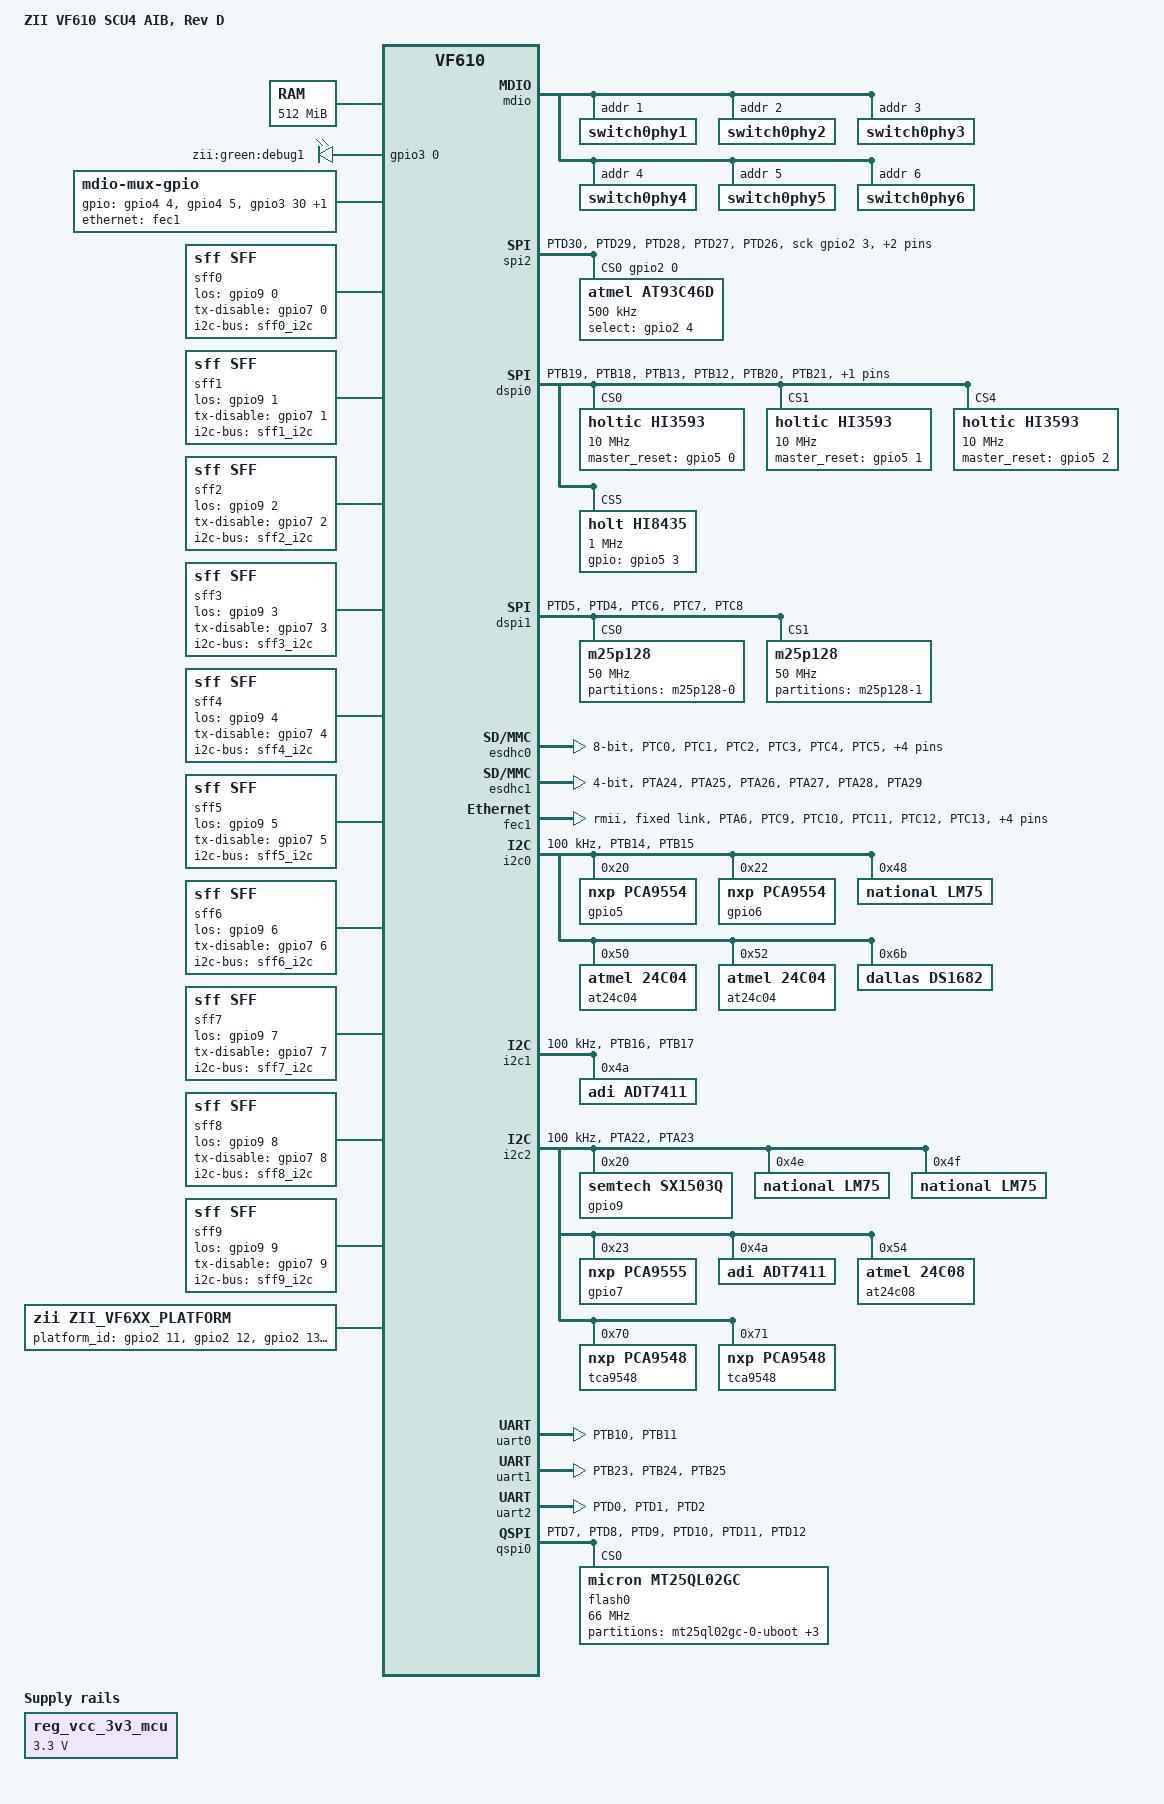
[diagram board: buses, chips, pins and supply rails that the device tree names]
/*
 * Copyright 2013 Freescale Semiconductor, Inc.
 *
 * This program is free software; you can redistribute it and/or modify
 * it under the terms of the GNU General Public License as published by
 * the Free Software Foundation; either version 2 of the License, or
 * (at your option) any later version.
 */

/dts-v1/;
#include "vf610.dtsi"


/ {
	model = "ZII VF610 SCU4 AIB, Rev D";
	compatible = "zii,vf610dev-b", "zii,vf610dev", "fsl,vf610";

	chosen {
		bootargs = "console=ttyLP0,115200n8";
		stdout-path = &uart0;
	};

	memory {
		reg = <0x80000000 0x20000000>;
	};

	gpio-leds {
		compatible = "gpio-leds";
		pinctrl-0 = <&pinctrl_leds_debug>;
		pinctrl-names = "default";

		debug_1 {
			label = "zii:green:debug1";
			/* gpios = <&gpio2 18 GPIO_ACTIVE_HIGH>;  */
			gpios = <&gpio3 0 GPIO_ACTIVE_HIGH>;
			linux,default-trigger = "heartbeat";
		};
	};

	mdio-mux {
		compatible = "mdio-mux-gpio";
		pinctrl-0 = <&pinctrl_mdio_mux>;
		pinctrl-names = "default";
		gpios = <&gpio4 4  GPIO_ACTIVE_HIGH
			 &gpio4 5  GPIO_ACTIVE_HIGH
			 &gpio3 30 GPIO_ACTIVE_HIGH
			 &gpio3 31 GPIO_ACTIVE_HIGH>;
		mdio-parent-bus = <&mdio1>;
		#address-cells = <1>;
		#size-cells = <0>;

		mdio_mux_1: mdio@1 {
			reg = <1>;
			#address-cells = <1>;
			#size-cells = <0>;

			switch0: switch0@0 {
				compatible = "marvell,mv88e6190";
				#address-cells = <1>;
				#size-cells = <0>;
				reg = <0>;
				dsa,member = <0 0>;
				eeprom-length = <65536>;

				ports {
					#address-cells = <1>;
					#size-cells = <0>;

					port@0 {
						reg = <0>;
						label = "cpu";
						ethernet = <&fec1>;
						fixed-link {
							speed = <100>;
							full-duplex;
						};
					};

					port@1 {
						reg = <1>;
						label = "aib2main_1";
						phy-handle = <&switch0phy1>;
					};

					port@2 {
						reg = <2>;
						label = "aib2main_2";
						phy-handle = <&switch0phy2>;
					};

					port@3 {
						reg = <3>;
						label = "eth_cu_1000_5";
						phy-handle = <&switch0phy3>;
					};

					port@4 {
						reg = <4>;
						label = "eth_cu_1000_6";
						phy-handle = <&switch0phy4>;
					};

					port@5 {
						reg = <5>;
						label = "eth_cu_1000_4";
						phy-handle = <&switch0phy5>;
					};

					port@6 {
						reg = <6>;
						label = "eth_cu_1000_7";
						phy-handle = <&switch0phy6>;
					};

					port@7 {
						reg = <7>;
						label = "modem_pic";
						fixed-link {
							speed = <100>;
							full-duplex;
						};
					};

					switch0port10: port@10 {
						reg = <10>;
						label = "dsa";
						phy-mode = "xgmii";
						link = <&switch1port10
							&switch3port10
							&switch2port10>;
					};
				};

				mdio {
					#address-cells = <1>;
					#size-cells = <0>;

					switch0phy1: switch0phy1@1 {
						reg = <1>;
					};

					switch0phy2: switch0phy2@2 {
						reg = <2>;
					};

					switch0phy3: switch0phy3@3 {
						reg = <3>;
					};

					switch0phy4: switch0phy4@4 {
						reg = <4>;
					};

					switch0phy5: switch0phy5@5 {
						reg = <5>;
					};

					switch0phy6: switch0phy6@6 {
						reg = <6>;
					};
				};
			};
		};

		mdio_mux_2: mdio@2 {
			reg = <2>;
			#address-cells = <1>;
			#size-cells = <0>;

			switch1: switch1@0 {
				compatible = "marvell,mv88e6190";
				#address-cells = <1>;
				#size-cells = <0>;
				reg = <0>;
				dsa,member = <0 1>;
				eeprom-length = <65536>;

				ports {
					#address-cells = <1>;
					#size-cells = <0>;

					port@1 {
						reg = <1>;
						label = "eth_cu_1000_3";
					};

					port@2 {
						reg = <2>;
						label = "eth_cu_100_2";
					};

					port@3 {
						reg = <3>;
						label = "eth_cu_100_3";
					};

					switch1port9: port@9 {
						reg = <9>;
						label = "dsa";
						phy-mode = "xgmii";
						link = <&switch3port10
								&switch2port10>;
					};

					switch1port10: port@10 {
						reg = <10>;
						label = "dsa";
						phy-mode = "xgmii";
						link = <&switch0port10>;
					};
				};
			};
		};

		mdio_mux_4: mdio@4 {
			reg = <4>;
			#address-cells = <1>;
			#size-cells = <0>;

			switch2: switch2@0 {
				compatible = "marvell,mv88e6190";
				#address-cells = <1>;
				#size-cells = <0>;
				reg = <0>;
				dsa,member = <0 2>;
				eeprom-length = <65536>;

				ports {
					#address-cells = <1>;
					#size-cells = <0>;

					port@1 {
						reg = <1>;
						label = "internal_j9";
					};

					port@2 {
						reg = <2>;
						label = "eth_fc_1000_2";
						phy-mode = "sgmii";
						managed = "in-band-status";
						sfp = <&sff1>;
					};

					port@3 {
						reg = <3>;
						label = "eth_fc_1000_3";
						phy-mode = "sgmii";
						managed = "in-band-status";
						sfp = <&sff2>;
					};

					port@4 {
						reg = <4>;
						label = "eth_fc_1000_4";
						phy-mode = "sgmii";
						managed = "in-band-status";
						sfp = <&sff3>;
					};

					port@5 {
						reg = <5>;
						label = "eth_fc_1000_5";
						phy-mode = "sgmii";
						managed = "in-band-status";
						sfp = <&sff4>;
					};

					port@6 {
						reg = <6>;
						label = "eth_fc_1000_6";
						phy-mode = "sgmii";
						managed = "in-band-status";
						sfp = <&sff5>;
					};

					port@7 {
						reg = <7>;
						label = "eth_fc_1000_7";
						phy-mode = "sgmii";
						managed = "in-band-status";
						sfp = <&sff6>;
					};

					port@9 {
						reg = <9>;
						label = "eth_fc_1000_1";
						phy-mode = "sgmii";
						managed = "in-band-status";
						sfp = <&sff0>;
					};

					switch2port10: port@10 {
						reg = <10>;
						label = "dsa";
						phy-mode = "2500base-x";
						link = <&switch3port9
							&switch1port9
							&switch0port10>;
					};
				};
			};
		};

		mdio_mux_8: mdio@8 {
			reg = <8>;
			#address-cells = <1>;
			#size-cells = <0>;

			switch3: switch3@0 {
				compatible = "marvell,mv88e6190";
				#address-cells = <1>;
				#size-cells = <0>;
				reg = <0>;
				dsa,member = <0 3>;
				eeprom-length = <65536>;

				ports {
					#address-cells = <1>;
					#size-cells = <0>;

					port@1 {
						reg = <1>;
						label = "internal_j8";
					};

					port@2 {
						reg = <2>;
						label = "eth_fc_1000_8";
						phy-mode = "sgmii";
						managed = "in-band-status";
						sfp = <&sff7>;
					};

					port@3 {
						reg = <3>;
						label = "eth_fc_1000_9";
						phy-mode = "sgmii";
						managed = "in-band-status";
						sfp = <&sff8>;
					};

					port@4 {
						reg = <4>;
						label = "eth_fc_1000_10";
						phy-mode = "sgmii";
						managed = "in-band-status";
						sfp = <&sff9>;
					};

					switch3port9: port@9 {
						reg = <9>;
						label = "dsa";
						phy-mode = "2500base-x";
						link = <&switch2port10>;
					};

					switch3port10: port@10 {
						reg = <10>;
						label = "dsa";
						phy-mode = "xgmii";
						link = <&switch1port9
							&switch0port10>;
					};
				};
			};
		};
	};

	sff0: sff0 {
		compatible = "sff,sff";
		i2c-bus = <&sff0_i2c>;
		los-gpios = <&gpio9 0 GPIO_ACTIVE_HIGH>;
		tx-disable-gpios = <&gpio7 0 GPIO_ACTIVE_HIGH>;
	};

	sff1: sff1 {
		compatible = "sff,sff";
		i2c-bus = <&sff1_i2c>;
		los-gpios = <&gpio9 1 GPIO_ACTIVE_HIGH>;
		tx-disable-gpios = <&gpio7 1 GPIO_ACTIVE_HIGH>;
	};

	sff2: sff2 {
		compatible = "sff,sff";
		i2c-bus = <&sff2_i2c>;
		los-gpios = <&gpio9 2 GPIO_ACTIVE_HIGH>;
		tx-disable-gpios = <&gpio7 2 GPIO_ACTIVE_HIGH>;
	};

	sff3: sff3 {
		compatible = "sff,sff";
		i2c-bus = <&sff3_i2c>;
		los-gpios = <&gpio9 3 GPIO_ACTIVE_HIGH>;
		tx-disable-gpios = <&gpio7 3 GPIO_ACTIVE_HIGH>;
	};

	sff4: sff4 {
		compatible = "sff,sff";
		i2c-bus = <&sff4_i2c>;
		los-gpios = <&gpio9 4 GPIO_ACTIVE_HIGH>;
		tx-disable-gpios = <&gpio7 4 GPIO_ACTIVE_HIGH>;
	};

	sff5: sff5 {
		compatible = "sff,sff";
		i2c-bus = <&sff5_i2c>;
		los-gpios = <&gpio9 5 GPIO_ACTIVE_HIGH>;
		tx-disable-gpios = <&gpio7 5 GPIO_ACTIVE_HIGH>;
	};

	sff6: sff6 {
		compatible = "sff,sff";
		i2c-bus = <&sff6_i2c>;
		los-gpios = <&gpio9 6 GPIO_ACTIVE_HIGH>;
		tx-disable-gpios = <&gpio7 6 GPIO_ACTIVE_HIGH>;
	};

	sff7: sff7 {
		compatible = "sff,sff";
		i2c-bus = <&sff7_i2c>;
		los-gpios = <&gpio9 7 GPIO_ACTIVE_HIGH>;
		tx-disable-gpios = <&gpio7 7 GPIO_ACTIVE_HIGH>;
	};

	sff8: sff8 {
		compatible = "sff,sff";
		i2c-bus = <&sff8_i2c>;
		los-gpios = <&gpio9 8 GPIO_ACTIVE_HIGH>;
		tx-disable-gpios = <&gpio7 8 GPIO_ACTIVE_HIGH>;
	};

	sff9: sff9 {
		compatible = "sff,sff";
		i2c-bus = <&sff9_i2c>;
		los-gpios = <&gpio9 9 GPIO_ACTIVE_HIGH>;
		tx-disable-gpios = <&gpio7 9 GPIO_ACTIVE_HIGH>;
	};

	regulators {
		compatible = "simple-bus";
		#address-cells = <1>;
		#size-cells = <0>;

		reg_vcc_3v3_mcu: regulator@1 {
			compatible = "regulator-fixed";
			reg = <1>;
			regulator-name = "vcc_3v3_mcu";
			regulator-min-microvolt = <3300000>;
			regulator-max-microvolt = <3300000>;
		};
	};

	spi2 {
		compatible = "spi-gpio";
		pinctrl-0 = <&pinctrl_dspi2>;
		pinctrl-names = "default";
		#address-cells = <1>;
		#size-cells = <0>;

		gpio-sck  = <&gpio2 3 GPIO_ACTIVE_HIGH>;
		gpio-mosi = <&gpio2 2 GPIO_ACTIVE_HIGH>;
		gpio-miso = <&gpio2 1 GPIO_ACTIVE_HIGH>;
		cs-gpios  = <&gpio2 0 GPIO_ACTIVE_HIGH>;
		num-chipselects = <1>;

		at93c46d@0 {
			compatible = "atmel,at93c46d";
			#address-cells = <0>;
			#size-cells = <0>;
			reg = <0>;
			spi-max-frequency = <500000>;
			spi-cs-high;
			data-size = <16>;
			select-gpios = <&gpio2 4 GPIO_ACTIVE_HIGH>;
		};
	};

	discrete_outputs {
		compatible = "gpio-of-helper";
		pinctrl-names = "default";
		pinctrl-0 = <&pinctrl_discrete_out>;
		status = "okay";

		discrete_out_1 {
			gpio-name = "discrete_out_1";
			gpio = <&gpio3 11 GPIO_ACTIVE_HIGH>;
			output;
			init-low;
		};

		discrete_out_2 {
			gpio-name = "discrete_out_2";
			gpio = <&gpio3 12 GPIO_ACTIVE_HIGH>;
			output;
			init-low;
		};

		discrete_out_3 {
			gpio-name = "discrete_out_3";
			gpio = <&gpio3 13 GPIO_ACTIVE_HIGH>;
			output;
			init-low;
		};

		discrete_out_4 {
			gpio-name = "discrete_out_4";
			gpio = <&gpio3 14 GPIO_ACTIVE_HIGH>;
			output;
			init-low;
		};

		discrete_out_5 {
			gpio-name = "discrete_out_5";
			gpio = <&gpio3 15 GPIO_ACTIVE_HIGH>;
			output;
			init-low;
		};
	};

	failover {
		compatible = "gpio-of-helper";
		pinctrl-names = "default";
		pinctrl-0 = <&pinctrl_gpio_sys_failover>;
		status = "okay";

		primary_scu {
			gpio-name = "primary_scu_b";
			gpio = <&gpio2 6 GPIO_ACTIVE_HIGH>;
			input;
		};

		scu_disable {
			gpio-name = "scu_disable_b";
			gpio = <&gpio2 5 GPIO_ACTIVE_HIGH>;
			input;
		};

		scu_active_out {
			gpio-name = "scu_active_out";
			gpio = <&gpio3 22 GPIO_ACTIVE_HIGH>;
			output;
			init-low;
		};
	};

	acloss {
		compatible = "gpio-of-helper";
		pinctrl-names = "default";
		pinctrl-0 = <&pinctrl_gpio_acloss>;
		status = "okay";

		primary_scu {
			gpio-name = "ac_loss_detect";
			gpio = <&gpio3 23 GPIO_ACTIVE_HIGH>;
			input;
		};
	};

	rev_assembly {
		compatible = "gpio-of-helper";
		pinctrl-names = "default";
		status = "okay";

		copper_rev_0 {
			gpio-name = "copper_rev_0";
			gpio = <&gpio6 0 GPIO_ACTIVE_HIGH>;
			input;
		};

		copper_rev_1 {
			gpio-name = "copper_rev_1";
			gpio = <&gpio6 1 GPIO_ACTIVE_HIGH>;
			input;
		};

		copper_rev_2 {
			gpio-name = "copper_rev_2";
			gpio = <&gpio6 2 GPIO_ACTIVE_HIGH>;
			input;
		};

		copper_rev_3 {
			gpio-name = "copper_rev_3";
			gpio = <&gpio6 3 GPIO_ACTIVE_HIGH>;
			input;
		};

		copper_rev_4 {
			gpio-name = "copper_rev_4";
			gpio = <&gpio6 4 GPIO_ACTIVE_HIGH>;
			input;
		};

		assembly_0 {
			gpio-name = "assembly_0";
			gpio = <&gpio6 5 GPIO_ACTIVE_HIGH>;
			input;
		};

		assembly_1 {
			gpio-name = "assembly_1";
			gpio = <&gpio6 6 GPIO_ACTIVE_HIGH>;
			input;
		};

		assembly_2 {
			gpio-name = "assembly_2";
			gpio = <&gpio6 7 GPIO_ACTIVE_HIGH>;
			input;
		};
	};

	zii_vf6xx_plat {
		compatible = "zii,zii_vf6xx_platform";
		platform_id-gpios = <&gpio2 11 GPIO_ACTIVE_HIGH
							&gpio2 12 GPIO_ACTIVE_HIGH
							&gpio2 13 GPIO_ACTIVE_HIGH
							&gpio2 14 GPIO_ACTIVE_HIGH>;
	};
};

&dspi0 {
	pinctrl-0 = <&pinctrl_dspi0>;
	pinctrl-names = "default";
	status = "okay";
	bus-num = <0>;

	hi3593@0 {
		compatible = "holtic,hi3593";
		pinctrl-0 = <&pinctrl_gpio_hi3593_1>;
		pinctrl-names = "default";
		reg = <0>;
		spi-max-frequency = <10000000>;

		master_reset-gpio = <&gpio5 0 GPIO_ACTIVE_HIGH>;
		rx1-chan {
			label = "arinc429rx1";
			int-gpio = <&gpio0 30 GPIO_ACTIVE_HIGH>;
			flag-gpio = <&gpio0 31 GPIO_ACTIVE_HIGH>;
		};
		rx2-chan {
			label = "arinc429rx2";
			int-gpio = <&gpio0 28 GPIO_ACTIVE_HIGH>;
			flag-gpio = <&gpio0 29 GPIO_ACTIVE_HIGH>;
		};
		tx-chan {
			label = "arinc429tx1";
			full-gpio = <&gpio0 27 GPIO_ACTIVE_HIGH>;
			empty-gpio = <&gpio0 26 GPIO_ACTIVE_HIGH>;
		};
	};

	hi3593@1 {
		compatible = "holtic,hi3593";
		pinctrl-0 = <&pinctrl_gpio_hi3593_2>;
		pinctrl-names = "default";
		reg = <1>;
		spi-max-frequency = <10000000>;

		master_reset-gpio = <&gpio5 1 GPIO_ACTIVE_HIGH>;
		rx1-chan {
			label = "arinc429rx3";
			int-gpio = <&gpio0 9 GPIO_ACTIVE_HIGH>;
			flag-gpio = <&gpio0 10 GPIO_ACTIVE_HIGH>;
		};
		rx2-chan {
			label = "arinc429rx4";
			int-gpio = <&gpio0 7 GPIO_ACTIVE_HIGH>;
			flag-gpio = <&gpio0 8 GPIO_ACTIVE_HIGH>;
		};
		tx-chan {
			label = "arinc429tx2";
			full-gpio = <&gpio0 6 GPIO_ACTIVE_HIGH>;
			empty-gpio = <&gpio0 5 GPIO_ACTIVE_HIGH>;
		};
	};

	hi3593@4 {
		compatible = "holtic,hi3593";
		pinctrl-0 = <&pinctrl_gpio_hi3593_3>;
		pinctrl-names = "default";
		reg = <4>;
		spi-max-frequency = <10000000>;

		master_reset-gpio = <&gpio5 2 GPIO_ACTIVE_HIGH>;
		rx1-chan {
			label = "arinc429rx5";
			int-gpio = <&gpio0 24 GPIO_ACTIVE_HIGH>;
			flag-gpio = <&gpio0 25 GPIO_ACTIVE_HIGH>;
		};
		rx2-chan {
			label = "arinc429rx6";
			int-gpio = <&gpio0 22 GPIO_ACTIVE_HIGH>;
			flag-gpio = <&gpio0 23 GPIO_ACTIVE_HIGH>;
		};
		tx-chan {
			label = "arinc429tx3";
			full-gpio = <&gpio0 21 GPIO_ACTIVE_HIGH>;
			empty-gpio = <&gpio0 20 GPIO_ACTIVE_HIGH>;
		};
	};

	hi8435@5 {
		compatible = "holt,hi8435";
		reg = <5>;
		gpios = <&gpio5 3 GPIO_ACTIVE_HIGH>;

		spi-max-frequency = <1000000>;
	};

};

&dspi1 {
	bus-num = <1>;
	pinctrl-names = "default";
	pinctrl-0 = <&pinctrl_dspi1>;
	status = "okay";

	m25p128@0 {
		#address-cells = <1>;
		#size-cells = <1>;
		compatible = "m25p128", "jedec,spi-nor";
		reg = <0>;
		spi-max-frequency = <50000000>;

		partition@0 {
			label = "m25p128-0";
			reg = <0x0 0x01000000>;
		};
	};

	m25p128@1 {
		#address-cells = <1>;
		#size-cells = <1>;
		compatible = "m25p128", "jedec,spi-nor";
		reg = <1>;
		spi-max-frequency = <50000000>;

		partition@0 {
			label = "m25p128-1";
			reg = <0x0 0x01000000>;
		};
	};
};

&edma0 {
	status = "okay";
};

&esdhc0 {
	pinctrl-names = "default";
	pinctrl-0 = <&pinctrl_esdhc0>;
	bus-width = <8>;
	status = "okay";
};

&esdhc1 {
	pinctrl-names = "default";
	pinctrl-0 = <&pinctrl_esdhc1>;
	bus-width = <4>;
	status = "okay";
};

&fec1 {
	phy-mode = "rmii";
	pinctrl-names = "default";
	pinctrl-0 = <&pinctrl_fec1>;
	status = "okay";

	fixed-link {
		   speed = <100>;
		   full-duplex;
	};

	mdio1: mdio {
		#address-cells = <1>;
		#size-cells = <0>;
		status = "okay";
	};
};

&i2c0 {
	clock-frequency = <100000>;
	pinctrl-names = "default";
	pinctrl-0 = <&pinctrl_i2c0>;
	status = "okay";

	/* Reset Signals */
	gpio5: pca9505@20 {
		compatible = "nxp,pca9554";
		reg = <0x20>;
		gpio-controller;
		#gpio-cells = <2>;
	};

	/* Board Revision */
	gpio6: pca9505@22 {
		compatible = "nxp,pca9554";
		reg = <0x22>;
		gpio-controller;
		#gpio-cells = <2>;
	};

	lm75@48 {
		compatible = "national,lm75";
		reg = <0x48>;
	};

	/* AIB Nameplate */
	at24c04@50 {
		compatible = "atmel,24c04";
		reg = <0x50>;
	};

	/* AIB NVM */
	at24c04@52 {
		compatible = "atmel,24c04";
		reg = <0x52>;
	};

	ds1682@6b {
		compatible = "dallas,ds1682";
		reg = <0x6b>;
	};
};

&i2c1 {
	clock-frequency = <100000>;
	pinctrl-names = "default";
	pinctrl-0 = <&pinctrl_i2c1>;
	status = "okay";

	/* AIB voltage monitor */
	adt7411@4a {
		compatible = "adi,adt7411";
		reg = <0x4a>;
	};
};

&i2c2 {
	clock-frequency = <100000>;
	pinctrl-names = "default";
	pinctrl-0 = <&pinctrl_i2c2>;
	status = "okay";

	/*
	 * U29
	 *
	 * Exposed signals:
	 *    I/O0  - SIG_DET_P1
	 *    I/O1  - SIG_DET_P2
	 *    I/O2  - SIG_DET_P3
	 *    I/O3  - SIG_DET_P4
	 *    I/O4  - SIG_DET_P5
	 *    I/O5  - SIG_DET_P6
	 *    I/O6  - SIG_DET_P7
	 *    I/O7  - SIG_DET_P8
	 *    I/O8  - SIG_DET_P9
	 *    I/O9  - SIG_DET_P10
	 *    I/O10 - SWB_PROG_MUX_SEL
	 *    I/O11 - SWA_PROG_MUX_SEL
	 *    I/O12 - PROG_SWA_CS
	 *    I/O13 - PROG_SWB_CS
	 */
	gpio9: sx1503@20 {
		compatible = "semtech,sx1503q";

		pinctrl-names = "default";
		pinctrl-0 = <&pinctrl_sx1503_20>;
		#gpio-cells = <2>;
		reg = <0x20>;
		gpio-controller;
	};

	lm75@4e {
		compatible = "national,lm75";
		reg = <0x4e>;
	};

	lm75@4f {
		compatible = "national,lm75";
		reg = <0x4f>;
	};

	gpio7: pca9555@23 {
		compatible = "nxp,pca9555";
		gpio-controller;
		#gpio-cells = <2>;
		reg = <0x23>;
	};

	/* FIB voltage monitor */
	adt7411@4a {
		compatible = "adi,adt7411";
		reg = <0x4a>;
	};

	/* FIB Nameplate */
	at24c08@54 {
		compatible = "atmel,24c08";
		reg = <0x54>;
	};

	tca9548@70 {
		compatible = "nxp,pca9548";
		pinctrl-names = "default";
		#address-cells = <1>;
		#size-cells = <0>;
		reg = <0x70>;

		sff0_i2c: i2c@1 {
			#address-cells = <1>;
			#size-cells = <0>;
			reg = <1>;
		};

		sff1_i2c: i2c@2 {
			#address-cells = <1>;
			#size-cells = <0>;
			reg = <2>;
		};

		sff2_i2c: i2c@3 {
			#address-cells = <1>;
			#size-cells = <0>;
			reg = <3>;
		};

		sff3_i2c: i2c@4 {
			#address-cells = <1>;
			#size-cells = <0>;
			reg = <4>;
		};

		sff4_i2c: i2c@5 {
			#address-cells = <1>;
			#size-cells = <0>;
			reg = <5>;
		};
	};

	tca9548@71 {
		compatible = "nxp,pca9548";
		pinctrl-names = "default";
		reg = <0x71>;
		#address-cells = <1>;
		#size-cells = <0>;

		sff5_i2c: i2c@1 {
			#address-cells = <1>;
			#size-cells = <0>;
			reg = <1>;
		};

		sff6_i2c: i2c@2 {
			#address-cells = <1>;
			#size-cells = <0>;
			reg = <2>;
		};

		sff7_i2c: i2c@3 {
			#address-cells = <1>;
			#size-cells = <0>;
			reg = <3>;
		};

		sff8_i2c: i2c@4 {
			#address-cells = <1>;
			#size-cells = <0>;
			reg = <4>;
		};

		sff9_i2c: i2c@5 {
			#address-cells = <1>;
			#size-cells = <0>;
			reg = <5>;
		};
	};
};

&iomuxc {
	pinctrl-names = "default";
	pinctrl-0 = <&pinctrl_hog>;

	vf610-zii {
		pinctrl_hog: hoggrp {
			fsl,pins = <
				/* System Type */
				VF610_PAD_PTD16__GPIO_78	0x2061 /*SYS_TYPE_3*/
				VF610_PAD_PTD17__GPIO_77	0x2061 /*SYS_TYPE_2*/
				VF610_PAD_PTD18__GPIO_76	0x2061 /*SYS_TYPE_1*/
				VF610_PAD_PTD19__GPIO_75	0x2061 /*SYS_TYPE_0*/
			>;
		};


		pinctrl_gpio_sys_failover: gpiosysfailovergrp {
			fsl,pins = <
				VF610_PAD_PTD24__GPIO_70		0x2061
				VF610_PAD_PTD25__GPIO_69		0x2061
				VF610_PAD_PTE13__GPIO_118		0x2062
			>;
		};

		pinctrl_discrete_out: discreteoutfrp {
			fsl,pins = <
				VF610_PAD_PTE2__GPIO_107		0x2062
				VF610_PAD_PTE3__GPIO_108		0x2062
				VF610_PAD_PTE4__GPIO_109		0x2062
				VF610_PAD_PTE5__GPIO_110		0x2062
				VF610_PAD_PTE6__GPIO_111		0x2062
			>;
		};

		pinctrl_gpio_acloss: gpioaclossgrp {
			fsl,pins = <
				VF610_PAD_PTE14__GPIO_119		0x2061
			>;
		};


		pinctrl_sx1503_20: pinctrl-sx1503-20 {
			fsl,pins = <
				VF610_PAD_PTD31__GPIO_63		0x219d
				>;
			};

		pinctrl_dspi0: dspi0grp {
			fsl,pins = <
				VF610_PAD_PTB19__DSPI0_CS0		0x1182
				VF610_PAD_PTB18__DSPI0_CS1		0x1182
				VF610_PAD_PTB13__DSPI0_CS4		0x1182
				VF610_PAD_PTB12__DSPI0_CS5		0x1182
				VF610_PAD_PTB20__DSPI0_SIN		0x1181
				VF610_PAD_PTB21__DSPI0_SOUT		0x1182
				VF610_PAD_PTB22__DSPI0_SCK		0x1182
			>;
		};

		pinctrl_dspi1: dspi1grp {
			fsl,pins = <
				VF610_PAD_PTD5__DSPI1_CS0		0x1182
				VF610_PAD_PTD4__DSPI1_CS1		0x1182
				VF610_PAD_PTC6__DSPI1_SIN		0x1181
				VF610_PAD_PTC7__DSPI1_SOUT		0x1182
				VF610_PAD_PTC8__DSPI1_SCK		0x1182
			>;
		};

		pinctrl_dspi2: dspi2gpio {
			fsl,pins = <
				/* VF610_PAD_PTD31__GPIO_63		0x33e2 */
				VF610_PAD_PTD30__GPIO_64		0x33e2
				VF610_PAD_PTD29__GPIO_65		0x33e1
				VF610_PAD_PTD28__GPIO_66		0x33e2
				VF610_PAD_PTD27__GPIO_67		0x33e2
				VF610_PAD_PTD26__GPIO_68		0x31c2
			>;
		};

		pinctrl_esdhc0: esdhc0grp {
			fsl,pins = <
				VF610_PAD_PTC0__ESDHC0_CLK	 0x31ef
				VF610_PAD_PTC1__ESDHC0_CMD	 0x31ef
				VF610_PAD_PTC2__ESDHC0_DAT0	 0x31ef
				VF610_PAD_PTC3__ESDHC0_DAT1	 0x31ef
				VF610_PAD_PTC4__ESDHC0_DAT2	 0x31ef
				VF610_PAD_PTC5__ESDHC0_DAT3	 0x31ef
				VF610_PAD_PTD23__ESDHC0_DAT4 0x31ef
				VF610_PAD_PTD22__ESDHC0_DAT5 0x31ef
				VF610_PAD_PTD21__ESDHC0_DAT6 0x31ef
				VF610_PAD_PTD20__ESDHC0_DAT7 0x31ef
			>;
		};

		pinctrl_esdhc1: esdhc1grp {
			fsl,pins = <
				VF610_PAD_PTA24__ESDHC1_CLK	0x31ef
				VF610_PAD_PTA25__ESDHC1_CMD	0x31ef
				VF610_PAD_PTA26__ESDHC1_DAT0	0x31ef
				VF610_PAD_PTA27__ESDHC1_DAT1	0x31ef
				VF610_PAD_PTA28__ESDHC1_DATA2	0x31ef
				VF610_PAD_PTA29__ESDHC1_DAT3	0x31ef
			>;
		};

		pinctrl_fec1: fec1grp {
			fsl,pins = <
				VF610_PAD_PTA6__RMII_CLKIN		0x30d1
				VF610_PAD_PTC9__ENET_RMII1_MDC		0x30d2
				VF610_PAD_PTC10__ENET_RMII1_MDIO	0x30d3
				VF610_PAD_PTC11__ENET_RMII1_CRS		0x30d1
				VF610_PAD_PTC12__ENET_RMII1_RXD1	0x30d1
				VF610_PAD_PTC13__ENET_RMII1_RXD0	0x30d1
				VF610_PAD_PTC14__ENET_RMII1_RXER	0x30d1
				VF610_PAD_PTC15__ENET_RMII1_TXD1	0x30d2
				VF610_PAD_PTC16__ENET_RMII1_TXD0	0x30d2
				VF610_PAD_PTC17__ENET_RMII1_TXEN	0x30d2
			>;
		};

		pinctrl_gpio_hi3593_1: pinctrl-gpio-hi3593-1 {
			fsl,pins = <
				VF610_PAD_PTB4__GPIO_26			0x33e1
				VF610_PAD_PTB5__GPIO_27			0x33e1
				VF610_PAD_PTB6__GPIO_28			0x33e1
				VF610_PAD_PTB7__GPIO_29			0x33e1
				VF610_PAD_PTB8__GPIO_30			0x33e1
				VF610_PAD_PTB9__GPIO_31			0x33e1
			>;
		};

		pinctrl_gpio_hi3593_2: pinctrl-gpio-hi3593-2 {
			fsl,pins = <
				VF610_PAD_PTA12__GPIO_5			0x33e1
				VF610_PAD_PTA16__GPIO_6			0x33e1
				VF610_PAD_PTA17__GPIO_7			0x33e1
				VF610_PAD_PTA18__GPIO_8			0x33e1
				VF610_PAD_PTA19__GPIO_9			0x33e1
				VF610_PAD_PTA20__GPIO_10		0x33e1
			>;
		};

		pinctrl_gpio_hi3593_3: pinctrl-gpio-hi3593-3 {
			fsl,pins = <
				VF610_PAD_PTA30__GPIO_20		0x33e1
				VF610_PAD_PTA31__GPIO_21		0x33e1
				VF610_PAD_PTB0__GPIO_22			0x33e1
				VF610_PAD_PTB1__GPIO_23			0x33e1
				VF610_PAD_PTB2__GPIO_24			0x33e1
				VF610_PAD_PTB3__GPIO_25			0x33e1
			>;
		};

		/* -------------------------------------------------------------
		 * speed:		  high (200 MHz)
		 * slew rate:		  slow
		 * open drain:		  enabled
		 * hysteresis:		  Schmitt trigger
		 * drive strength:	  20 Ohm
		 * pull strength:	  22 kOhm pull-up
		 * pull / keeper:	  enabled
		 * pull / keeper select:  pull
		 * output buffer:	  enabled
		 * input buffer:	  enabled
		 */
		pinctrl_i2c0: i2c0grp {
			fsl,pins = <
				VF610_PAD_PTB14__I2C0_SCL		0x37ff
				VF610_PAD_PTB15__I2C0_SDA		0x37ff
			>;
		};

		pinctrl_i2c1: i2c1grp {
			fsl,pins = <
				VF610_PAD_PTB16__I2C1_SCL		0x37ff
				VF610_PAD_PTB17__I2C1_SDA		0x37ff
			>;
		};

		pinctrl_i2c2: i2c2grp {
			fsl,pins = <
				VF610_PAD_PTA22__I2C2_SCL		0x37ff
				VF610_PAD_PTA23__I2C2_SDA		0x37ff
			>;
		};

		pinctrl_i2c3: i2c3grp {
			fsl,pins = <
				VF610_PAD_PTA30__I2C3_SCL		0x37ff
				VF610_PAD_PTA31__I2C3_SDA		0x37ff
			>;
		};

		pinctrl_uart0: uart0grp {
			fsl,pins = <
				VF610_PAD_PTB10__UART0_TX		0x21a2
				VF610_PAD_PTB11__UART0_RX		0x21a1
			>;
		};

		pinctrl_uart1: uart1grp {
			fsl,pins = <
				VF610_PAD_PTB23__UART1_TX		0x21a2
				VF610_PAD_PTB24__UART1_RX		0x21a1
				VF610_PAD_PTB25__UART1_RTS		0x21a2
			>;
		};

		pinctrl_uart2: uart2grp {
			fsl,pins = <
				VF610_PAD_PTD0__UART2_TX		0x21a2
				VF610_PAD_PTD1__UART2_RX		0x21a1
				VF610_PAD_PTD2__UART2_RTS		0x21a2
			>;
		};

		pinctrl_qspi0: qspi0grp {
			fsl,pins = <
				VF610_PAD_PTD7__QSPI0_B_QSCK		0x31c3
				VF610_PAD_PTD8__QSPI0_B_CS0			0x31ff
				VF610_PAD_PTD9__QSPI0_B_DATA3		0x31c3
				VF610_PAD_PTD10__QSPI0_B_DATA2		0x31c3
				VF610_PAD_PTD11__QSPI0_B_DATA1		0x31c3
				VF610_PAD_PTD12__QSPI0_B_DATA0		0x31c3
			>;
		};

		pinctrl_leds_debug: pinctrl-leds-debug {
			fsl,pins = <
				 VF610_PAD_PTB26__GPIO_96		0x31c2
			   >;
		};

		pinctrl_mdio_mux: pinctrl-mdio-mux {
			fsl,pins = <
				VF610_PAD_PTE27__GPIO_132	0x31c2
				VF610_PAD_PTE28__GPIO_133	0x31c2
				VF610_PAD_PTE21__GPIO_126	0x31c2
				VF610_PAD_PTE22__GPIO_127	0x31c2
			>;
		};
	};
};

&L2 {
	arm,data-latency = <2 1 2>;
	arm,tag-latency = <3 2 3>;
};

&uart0 {
	pinctrl-names = "default";
	pinctrl-0 = <&pinctrl_uart0>;
	status = "okay";
};

&uart1 {
	linux,rs485-enabled-at-boot-time;
	pinctrl-names = "default";
	pinctrl-0 = <&pinctrl_uart1>;
	rs485-rts-delay = <0 200>;
	status = "okay";
};

&uart2 {
	linux,rs485-enabled-at-boot-time;
	pinctrl-names = "default";
	pinctrl-0 = <&pinctrl_uart2>;
	rs485-rts-delay = <0 200>;
	status = "okay";
};

&qspi0 {
	pinctrl-names = "default";
	pinctrl-0 = <&pinctrl_qspi0>;
	fsl,nor-size = <0x10000000>;
	fsl,spi-num-chipselects = <2>;
	status = "okay";
	/* status = "disabled";   */

	flash0: mt25ql02gc@0 {
		#address-cells = <1>;
		#size-cells = <1>;
		compatible = "micron,mt25ql02gc";
		spi-max-frequency = <66000000>;
		reg = <0>;

		partition@0 {
			label = "mt25ql02gc-0-uboot";
			reg = <0x0 0x0100000>;
		};

		partition2@100000 {
			label = "mt25ql02gc-0-dtb";
			reg = <0x0100000 0x0100000>;
		};

		partition3@200000 {
			label = "mt25ql02gc-0-kernel";
			reg = <0x0200000 0x0500000>;
		};

		partition4@700000 {
			label = "mt25ql02gc-0-rfs";
			reg = <0x0600000 0x8000000>;
		};
	};
};
